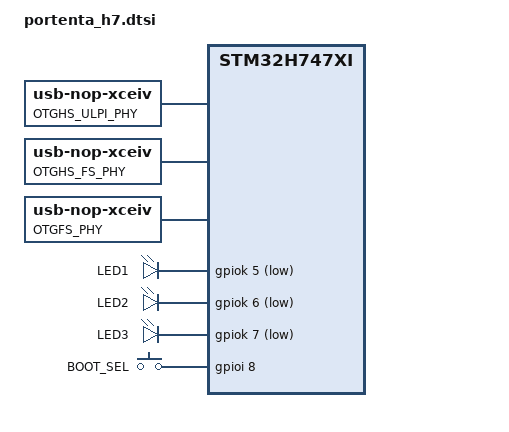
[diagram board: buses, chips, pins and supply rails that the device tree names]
/*
 * SPDX-License-Identifier: Apache-2.0
 */
#include <st/h7/stm32h747Xi_m7.dtsi>
#include <st/h7/stm32h747xihx-pinctrl.dtsi>

/ {
    soc {
      usbotg_fs: usb@40080000 {
        compatible = "st,stm32-otgfs";
        reg = <0x40080000 0x40000>;
        interrupts = <101 0>, <98 0>, <99 0>;
        interrupt-names = "otgfs", "ep1_out", "ep1_in";
        num-bidir-endpoints = <6>;
        ram-size = <1280>;
        maximum-speed = "full-speed";
        phys = <&otgfs_phy>;
        clocks = <&rcc STM32_CLOCK_BUS_AHB2 0x00000080>;
        status = "disabled";
        label = "OTGFS";
      };

      usbotg_hs: usb@40040000 {
        compatible = "st,stm32-otghs";
        reg = <0x40040000 0x40000>;
        interrupts = <77 0>, <74 0>, <75 0>;
        interrupt-names = "otghs", "ep1_out", "ep1_in";
        num-bidir-endpoints = <9>;
        ram-size = <4096>;
        maximum-speed = "high-speed";
        clocks = <&rcc STM32_CLOCK_BUS_AHB1 0x4000000>;
        phys = <&otghs_ulpi_phy>;
        status = "disabled";
        label= "OTGHS";
      };

		  pinctrl: pin-controller@58020000 {
        usb_otg_hs_ulpi_clk_pa5: usb_otg_hs_ulpi_clk_pa5 {
          pinmux = <STM32_PINMUX('A', 5, AF10)>;
        };
      };
    };

    otghs_ulpi_phy: otghs_ulpi_phy {
      compatible = "usb-nop-xceiv";// "st,stm32-usbphyc";
      #phy-cells = <0>;
      // reg = <0>;
      label = "OTGHS_ULPI_PHY";
      status="okay";
    };

    otghs_fs_phy: otghs_fs_phy {
      compatible = "usb-nop-xceiv";
      #phy-cells = <0>;
      label = "OTGHS_FS_PHY";
    };

    otgfs_phy: otgfs_phy {
      compatible = "usb-nop-xceiv";
      #phy-cells = <0>;
      label = "OTGFS_PHY";
    };

    gpioled: leds {
        compatible = "gpio-leds";
        red_led_1:led_1 {
            gpios = <&gpiok 5 GPIO_ACTIVE_LOW>;
            label = "LED1";
        };
        green_led_2:led_2 {
            gpios = <&gpiok 6 GPIO_ACTIVE_LOW>;
            label = "LED2";
        };
        blue_led_3:led_3 {
            gpios = <&gpiok 7 GPIO_ACTIVE_LOW>;
            label = "LED3";
        };
    };

    gpio_keys {
        compatible = "gpio-keys";
        boot_sel: button_1 {
            label = "BOOT_SEL";
            gpios = <&gpioi 8 GPIO_ACTIVE_HIGH>;
        };

        oscen: oscen {
            label = "OSCEN";
            gpios = <&gpioh 1 GPIO_ACTIVE_HIGH>;
            status = "disabled";
        };
    };

    sdram1: sdram@c0000000 {
        compatible = "mmio-sram";
        device_type = "memory";
        reg = <0xc0000000 DT_SIZE_M(8)>;
        zephyr,memory-region = "SDRAM1";
    };

    aliases {
        led0 = &red_led_1;
        led1 = &green_led_2;
        led2 = &blue_led_3;
    };
};

&rcc {
    d1cpre = <1>;
    hpre = <2>;
    d1ppre = <2>;
    d2ppre1 = <2>;
    d2ppre2 = <2>;
    d3ppre = <2>;
};

&usart1 {
    pinctrl-0 = <&usart1_tx_pa9 &usart1_rx_pa10>;
    pinctrl-names = "default";
    current-speed = <115200>;
    status = "disabled";
};

&uart4 {
    pinctrl-0 = <&uart4_tx_pa0 &uart4_rx_pi9>;
    pinctrl-names = "default";
    current-speed = <115200>;
    status = "disabled";
};

&usart6 {
    pinctrl-0 = <&usart6_tx_pg14 &usart6_rx_pg9>;
    pinctrl-names = "default";
    current-speed = <115200>;
    status = "disabled";
};

&uart8 {
    pinctrl-0 = <&uart8_tx_pj8 &uart8_rx_pj9>;
    pinctrl-names = "default";
    current-speed = <115200>;
    status = "disabled";
};

&i2c1 {
    status = "disabled";
    pinctrl-names = "default";
    pinctrl-0 = <&i2c1_scl_pb6 &i2c1_sda_pb7>;
};

&i2c3 {
    status = "disabled";
    pinctrl-names = "default";
    pinctrl-0 = <&i2c3_scl_ph7 &i2c3_sda_ph8>;
};

&mac {
    status = "disabled";
    pinctrl-names = "default";
    pinctrl-0 = <&eth_ref_clk_pa1
               &eth_mdio_pa2
               &eth_crs_dv_pa7
               &eth_mdc_pc1
               &eth_rxd0_pc4
               &eth_rxd1_pc5
               &eth_tx_en_pg11
               &eth_txd0_pg13
               &eth_txd1_pg12>;
};

&fmc {
    status = "disabled";

    pinctrl-names = "default";
    pinctrl-0 = <
        /* control */
        &fmc_sdclk_pg8    &fmc_sdcke0_ph2
        &fmc_sdnwe_ph5    &fmc_sdne0_ph3
        &fmc_sdncas_pg15  &fmc_sdnras_pf11
        &fmc_nbl0_pe0     &fmc_nbl1_pe1

        /* address */
        &fmc_a0_pf0   &fmc_a1_pf1   &fmc_a2_pf2   &fmc_a3_pf3
        &fmc_a4_pf4   &fmc_a5_pf5   &fmc_a6_pf12  &fmc_a7_pf13
        &fmc_a8_pf14  &fmc_a9_pf15  &fmc_a10_pg0  &fmc_a11_pg1
        &fmc_a12_pg2

        /* bank address */
        &fmc_a14_pg4  &fmc_a15_pg5

        /* data */
        &fmc_d0_pd14  &fmc_d1_pd15  &fmc_d2_pd0   &fmc_d3_pd1
        &fmc_d4_pe7   &fmc_d5_pe8   &fmc_d6_pe9   &fmc_d7_pe10
        &fmc_d8_pe11  &fmc_d9_pe12  &fmc_d10_pe13 &fmc_d11_pe14
        &fmc_d12_pe15 &fmc_d13_pd8  &fmc_d14_pd9  &fmc_d15_pd10
    >;


    sdram {
        status = "disabled";

        power-up-delay = <100>;
        num-auto-refresh = <4>;
        mode-register = <0x0221>;

        refresh-rate = <761>; // 64ms

        bank@0 {
            reg = <0>;

            st,sdram-control = <
                STM32_FMC_SDRAM_NC_8
                STM32_FMC_SDRAM_NR_12
                STM32_FMC_SDRAM_MWID_16
                STM32_FMC_SDRAM_NB_4
                STM32_FMC_SDRAM_CAS_2
                STM32_FMC_SDRAM_SDCLK_PERIOD_2
                STM32_FMC_SDRAM_RBURST_DISABLE
                STM32_FMC_SDRAM_RPIPE_1
            >;
 
            st,sdram-timing = <2 7 4 7 2 2 2>;
        };
    };
};

&flash0 {
    partitions {
        compatible = "fixed-partitions";
        #address-cells = <1>;
        #size-cells = <1>;

        boot_partition: partition@0 {
            label = "mcuboot";
            reg = <0x000000000 0x40000>;
        };

        slot0_partition: partition@40000 {
            label = "image-0";
            reg = <0x00040000 0xC00000>;
        };

        slot1_partition: partition@100000 {
            label = "image-1";
            reg = <0x00100000 0x80000>;
        };

        storage: partition@1C0000 {
            label = "storage";
            reg = <0x001C0000 0x40000>;
        };
    };
};

&i2c1 {
    pmic: i2c1@0x08 {
        compatible = "i2c-device";
        reg = <0x08>;
        label = "PMIC";
    };
    crypto: i2c1@0x48 {
        compatible = "i2c-device";
        reg = <0x48>;
        label = "CRYPTO";
    };
};

&quadspi {
    pinctrl-names = "default";
    pinctrl-0 = <&quadspi_clk_pf10 &quadspi_bk1_ncs_pg6
                 &quadspi_bk1_io0_pd11 &quadspi_bk1_io1_pd12
                 &quadspi_bk1_io2_pf7 &quadspi_bk1_io3_pd13>;

    status = "disabled";
};
